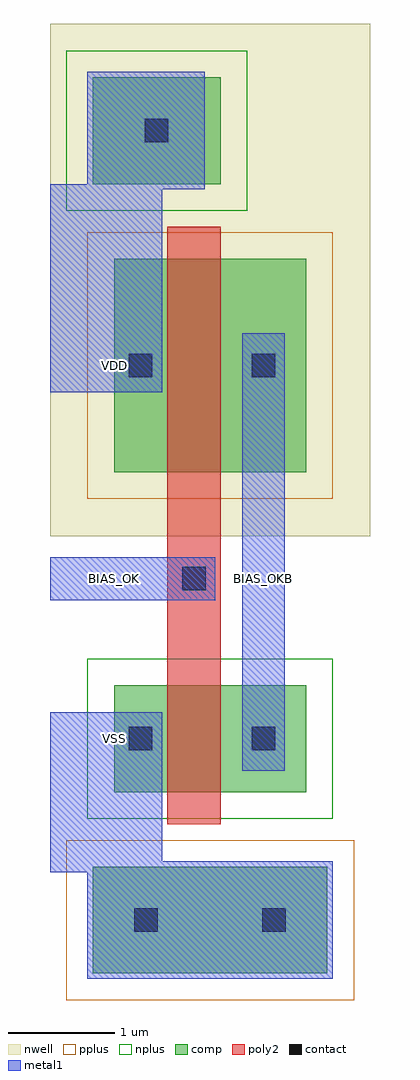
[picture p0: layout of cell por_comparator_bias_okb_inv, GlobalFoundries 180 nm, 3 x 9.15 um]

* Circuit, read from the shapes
.subckt por_comparator_bias_okb_inv BIAS_OK BIAS_OKB VDD VSS
XM1 BIAS_OKB BIAS_OK VSS VSS nfet_03v3 w=1u l=0.5u
XM2 BIAS_OKB BIAS_OK VDD VDD pfet_03v3 w=2u l=0.5u
.ends

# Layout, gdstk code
import gdstk
lib = gdstk.Library(unit=1e-6, precision=1e-09)
def R(c, l, rs):  # rectangles x0, y0, x1, y1
    for r in rs: c.add(gdstk.rectangle(r[:2], r[2:], *l))
nwell = (21, 0)
comp = (22, 0)
poly2 = (30, 0)
pplus = (31, 0)
nplus = (32, 0)
contact = (33, 0)
metal1 = (34, 0)

por_comparator_bias_okb_ = lib.new_cell('por_comparator_bias_okb_inv')
R(por_comparator_bias_okb_, nwell, [(-0.6,2.4,2.4,7.2)])
R(por_comparator_bias_okb_, comp, [(-0.2,-1.7,2,-0.7), (0,0,1.8,1), (0,3,1.8,5), (-0.2,5.7,1,6.7)])
R(por_comparator_bias_okb_, poly2, [(0.5,-0.3,1,5.3)])
R(por_comparator_bias_okb_, pplus, [(-0.45,-1.95,2.25,-0.45), (-0.25,2.75,2.05,5.25)])
R(por_comparator_bias_okb_, nplus, [(-0.25,-0.25,2.05,1.25), (-0.45,5.45,1.25,6.95)])
R(por_comparator_bias_okb_, contact, [(0.19,-1.31,0.41,-1.09), (1.39,-1.31,1.61,-1.09), (0.14,0.39,0.36,0.61), (1.29,0.39,1.51,0.61), (0.64,1.89,0.86,2.11), (0.14,3.89,0.36,4.11), (1.29,3.89,1.51,4.11), (0.29,6.09,0.51,6.31)])
R(por_comparator_bias_okb_, metal1, [(-0.25,-1.75,2.05,-0.65), (-0.6,-0.75,0.45,0.25), (1.2,0.2,1.6,4.3), (-0.6,0.25,0.45,0.75), (-0.6,1.8,0.95,2.2), (-0.6,3.75,0.45,4.25), (-0.6,4.25,0.45,5.7), (-0.25,5.65,0.85,6.75)])
por_comparator_bias_okb_.add(gdstk.Label('VSS', (0,0.5), layer=34, texttype=10))
por_comparator_bias_okb_.add(gdstk.Label('VDD', (0,4), layer=34, texttype=10))
por_comparator_bias_okb_.add(gdstk.Label('BIAS_OK', (0,2), layer=34, texttype=10))
por_comparator_bias_okb_.add(gdstk.Label('BIAS_OKB', (1.4,2), layer=34, texttype=10))

lib.write_gds('por_comparator_bias_okb_inv.gds')
